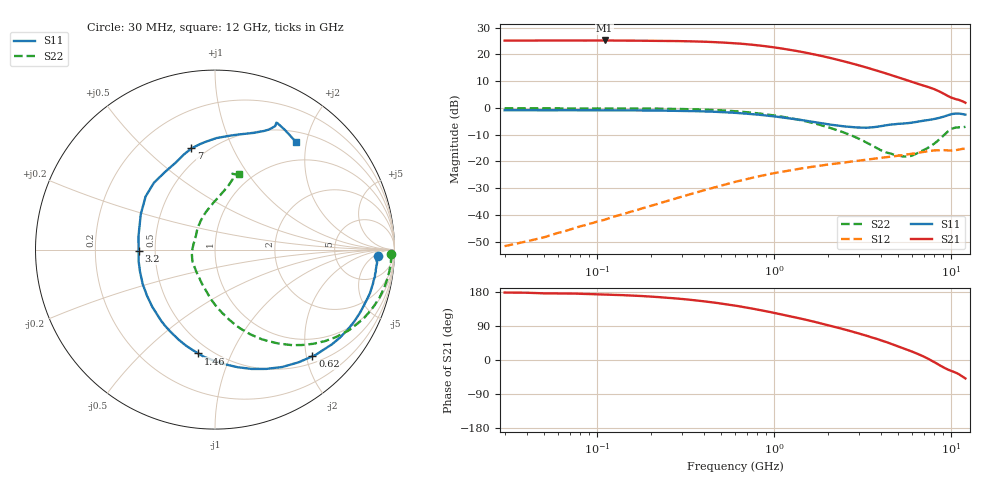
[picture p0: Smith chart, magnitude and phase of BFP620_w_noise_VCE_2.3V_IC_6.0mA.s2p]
! Infineon Technologies  Discrete & RF Semiconductors
! BFP620
! VCE =  2.3 V,  IC =  6.0 mA
! Common Emitter S-Parameters:  Nov 2015
# GHz  S  MA  R  50
!  f  S11  S21  S12  S22
! GHz  MAG  ANG  MAG  ANG  MAG  ANG  MAG  ANG
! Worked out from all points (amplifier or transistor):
!   239 points, 30 MHz to 12 GHz, reference 50 ohm
!   highest |S21| = 25.2 dB at 110 MHz (marker M1)
!   |S21| within 3 dB of that: start of sweep to 1.099 GHz
!   unconditionally stable (mu >= 1): 4.97 GHz to end of sweep
!   at 300 MHz: K = 0.13, MSG = 29.1 dB, |S12| = -33.2 dB
!   at 1.88 GHz: K = 0.56, MSG = 20.4 dB, |S12| = -21.4 dB
!   at 12 GHz: K = 1.20, MAG = 5.9 dB, |S12| = -15.3 dB
!   lowest NFmin = 0.65 dB at 450 MHz
!   S11 on the Smith chart (normalised r, x): 30 MHz: 17, -7; 620 MHz: 0.63, -2.11; 1.46 GHz: 0.43, -0.76; 3.2 GHz: 0.40, -0.01; 7 GHz: 0.42, +0.71; 12 GHz: 0.67, +1.82
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0.03  0.9065 -2.3  18.16 178.0  0.0026 60.0  0.9823 -1.5
0.07  0.9046 -5.5  18.27 175.6  0.0053 72.9  0.9828 -3.7
0.085  0.9034 -6.7  18.21 174.4  0.0064 74.9  0.9821 -4.5
0.11  0.9022 -8.7  18.28 172.6  0.0081 77.3  0.9805 -6.0
0.165  0.8991 -13.0  18.1 169.6  0.0122 77.4  0.9752 -8.9
0.24  0.8896 -18.8  17.92 164.8  0.0176 76.4  0.9653 -13.0
0.3  0.8811 -23.6  17.75 161.1  0.0219 74.9  0.9548 -16.2
0.4  0.8627 -31.3  17.36 154.9  0.0288 71.6  0.9308 -21.4
0.6  0.8118 -46.2  16.22 143.5  0.0414 64.7  0.8696 -31.3
0.62  0.8048 -47.6  16.08 142.5  0.0425 63.9  0.8619 -32.1
0.72  0.7755 -54.7  15.43 137.1  0.0479 60.6  0.8254 -36.5
0.9  0.7233 -66.8  14.21 128.5  0.0563 55.2  0.7582 -43.8
1.1  0.6677 -79.0  12.94 120.1  0.0641 50.1  0.6884 -50.7
1.46  0.5861 -99.1  11.02 107.7  0.0751 42.8  0.5762 -61.1
1.64  0.5514 -108.8  10.21 102.2  0.0795 40.0  0.5266 -65.8
1.98  0.5 -126.0  8.911 92.6  0.0868 35.1  0.4435 -74.0
2.4  0.4578 -145.8  7.614 82.5  0.094 30.4  0.3588 -83.1
3.2  0.4258 -178.8  5.902 66.5  0.106 22.9  0.2399 -101.1
4.5  0.4869 142.6  4.184 43.7  0.1222 12.6  0.1417 -152.8
7  0.5792 103.1  2.608 8.8  0.1514 -5.2  0.1633 123.5
9  0.6842 71.8  1.87 -19.4  0.1628 -23.7  0.3019 84.9
12  0.7493 52.8  1.25 -48.7  0.1714 -42.2  0.4433 72.1
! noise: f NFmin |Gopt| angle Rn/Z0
0.45  0.65  0.4  4  0.14
0.9  0.68  0.35  10  0.05
1.9  0.7  0.22  32  0.01
2.4  0.73  0.17  55  0.11
3.5  0.81  0.07  98  0.12
5.5  1.18  0.1  -162  0.13
10  1.8  0.6  -55  0.76
